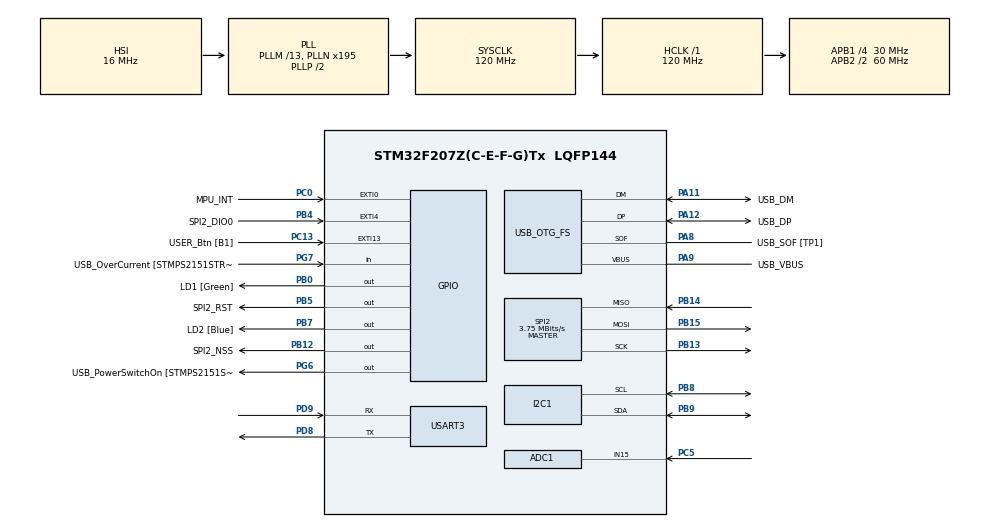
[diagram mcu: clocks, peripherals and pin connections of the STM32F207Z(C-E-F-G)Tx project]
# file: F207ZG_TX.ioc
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ADC1.Channel-0\#ChannelRegularConversion=ADC_CHANNEL_15
ADC1.NbrOfConversionFlag=1
ADC1.Rank-0\#ChannelRegularConversion=1
ADC1.SamplingTime-0\#ChannelRegularConversion=ADC_SAMPLETIME_3CYCLES
ADC1.master=1
FREERTOS.Tasks01=defaultTask,24,128,StartDefaultTask,Default,NULL,Dynamic,NULL,NULL
Mcu.Family=STM32F2
Mcu.Name=STM32F207Z(C-E-F-G)Tx
Mcu.Package=LQFP144
NVIC.EXTI0_IRQn=true\:5\:0\:false\:false\:true\:true\:true\:true\:true
NVIC.PriorityGroup=NVIC_PRIORITYGROUP_4
NVIC.TIM7_IRQn=true\:15\:0\:false\:false\:true\:false\:false\:true\:true
NVIC.TimeBase=TIM7_IRQn
NVIC.TimeBaseIP=TIM7
PA1.GPIO_Label=RMII_REF_CLK [LAN8742A-CZ-TR_REFCLK0]
PA1.Signal=ETH_REF_CLK
PA10.GPIO_Label=USB_ID
PA10.Signal=USB_OTG_FS_ID
PA11.GPIO_Label=USB_DM
PA11.Mode=Device_Only
PA11.Signal=USB_OTG_FS_DM
PA12.GPIO_Label=USB_DP
PA12.Mode=Device_Only
PA12.Signal=USB_OTG_FS_DP
PA13.GPIO_Label=TMS
PA13.Mode=Serial_Wire
PA13.Signal=SYS_JTMS-SWDIO
PA14.GPIO_Label=TCK
PA14.Mode=Serial_Wire
PA14.Signal=SYS_JTCK-SWCLK
PA2.GPIO_Label=RMII_MDIO [LAN8742A-CZ-TR_MDIO]
PA2.Signal=ETH_MDIO
PA8.GPIO_Label=USB_SOF [TP1]
PA8.Mode=Activate_SOF_FS
PA8.Signal=USB_OTG_FS_SOF
PA9.GPIO_Label=USB_VBUS
PA9.Mode=Activate_VBUS
PA9.Signal=USB_OTG_FS_VBUS
PB0.GPIO_Label=LD1 [Green]
PB0.Signal=GPIO_Output
PB12.GPIO_Label=SPI2_NSS
PB12.Signal=GPIO_Output
PB13.Mode=Full_Duplex_Master
PB13.Signal=SPI2_SCK
PB14.Mode=Full_Duplex_Master
PB14.Signal=SPI2_MISO
PB15.Mode=Full_Duplex_Master
PB15.Signal=SPI2_MOSI
PB3.GPIO_Label=SWO
PB3.Signal=SYS_JTDO-SWO
PB4.GPIO_Label=SPI2_DIO0
PB4.Signal=GPXTI4
PB5.GPIO_Label=SPI2_RST
PB5.Signal=GPIO_Output
PB7.GPIO_Label=LD2 [Blue]
PB7.Signal=GPIO_Output
PB8.Mode=I2C
PB8.Signal=I2C1_SCL
PB9.Mode=I2C
PB9.Signal=I2C1_SDA
PC0.GPIO_Label=MPU_INT
PC0.Signal=GPXTI0
PC1.GPIO_Label=RMII_MDC [LAN8742A-CZ-TR_MDC]
PC1.Signal=ETH_MDC
PC13.GPIO_Label=USER_Btn [B1]
PC13.Signal=GPXTI13
PC14-OSC32_IN.Mode=LSE-External-Oscillator
PC14-OSC32_IN.Signal=RCC_OSC32_IN
PC15-OSC32_OUT.Mode=LSE-External-Oscillator
PC15-OSC32_OUT.Signal=RCC_OSC32_OUT
PC4.GPIO_Label=RMII_RXD0 [LAN8742A-CZ-TR_RXD0]
PC4.Signal=ETH_RXD0
PC5.Signal=ADCx_IN15
PD8.Mode=Asynchronous
PD8.Signal=USART3_TX
PD9.Mode=Asynchronous
PD9.Signal=USART3_RX
PG11.GPIO_Label=RMII_TX_EN [LAN8742A-CZ-TR_TXEN]
PG11.Signal=ETH_TX_EN
PG13.GPIO_Label=RMII_TXD0 [LAN8742A-CZ-TR_TXD0]
PG13.Signal=ETH_TXD0
PG6.GPIO_Label=USB_PowerSwitchOn [STMPS2151STR_EN]
PG6.Signal=GPIO_Output
PG7.GPIO_Label=USB_OverCurrent [STMPS2151STR_FAULT]
PG7.Signal=GPIO_Input
PH0-OSC_IN.GPIO_Label=MCO [STM32F103CBT6_PA8]
PH0-OSC_IN.Mode=HSE-External-Clock-Source
PH0-OSC_IN.Signal=RCC_OSC_IN
PH1-OSC_OUT.Mode=HSE-External-Clock-Source
PH1-OSC_OUT.Signal=RCC_OSC_OUT
ProjectManager.HeapSize=0x200
ProjectManager.StackSize=0x400
ProjectManager.TargetToolchain=STM32CubeIDE
RCC.48MHZClocksFreq_Value=48000000
RCC.AHBFreq_Value=120000000
RCC.APB1CLKDivider=RCC_HCLK_DIV4
RCC.APB1Freq_Value=30000000
RCC.APB1TimFreq_Value=60000000
RCC.APB2CLKDivider=RCC_HCLK_DIV2
RCC.APB2Freq_Value=60000000
RCC.APB2TimFreq_Value=120000000
RCC.CortexFreq_Value=120000000
RCC.HCLKFreq_Value=120000000
RCC.HSE_VALUE=8000000
RCC.HSI_VALUE=16000000
RCC.PLLM=13
RCC.PLLMUL=RCC_PLL_MUL9
RCC.PLLN=195
RCC.PLLQ=5
RCC.PRESCALERUSB=RCC_USBCLKSOURCE_PLL_DIV1_5
RCC.SYSCLKFreq_VALUE=120000000
RCC.SYSCLKSource=RCC_SYSCLKSOURCE_PLLCLK
RCC.SYSCLKSourceVirtual=RCC_SYSCLKSOURCE_PLLCLK
RCC.USBFreq_Value=48000000
RCC.VCOOutputFreq_Value=240000000
SH.ADCx_IN15.0=ADC1_IN15,IN15
SPI2.BaudRatePrescaler=SPI_BAUDRATEPRESCALER_8
SPI2.CRCCalculation=SPI_CRCCALCULATION_DISABLE
SPI2.CalculateBaudRate=3.75 MBits/s
SPI2.Direction=SPI_DIRECTION_2LINES
SPI2.Mode=SPI_MODE_MASTER
SPI2.VirtualType=VM_MASTER
USART3.VirtualMode=VM_ASYNC
USB_OTG_FS.VirtualMode=Device_Only
VP_FREERTOS_VS_CMSIS_V2.Mode=CMSIS_V2
VP_SYS_VS_tim7.Mode=TIM7
board=NUCLEO-F207ZG

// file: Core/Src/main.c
/* USER CODE BEGIN Header */
/**
 ******************************************************************************
 * @file           : main.c
 * @brief          : StructEye Node 4 — STM32F207ZG FreeRTOS LoRa Transmitter
 *
 *                   Architecture:
 *                     Task 1 — Sensor Acquisition   (EXTI + periodic poll)
 *                     Task 2 — Threshold Detection  (vibration/tilt analysis)
 *                     Task 3 — LoRa Communication   (CAD + TX)
 *                     Task 4 — System Monitor        (health telemetry)
 *
 *                   Inter-task communication via FreeRTOS Queues.
 *                   Motion interrupt (MPU6050 INT on PC0/EXTI0) wakes
 *                   Task 1 via vTaskNotifyGiveFromISR for sub-5ms latency.
 ******************************************************************************
 */
/* USER CODE END Header */
#include "main.h"

/* USER CODE BEGIN Includes */
#include "FreeRTOS.h"
#include "task.h"
#include "queue.h"
#include "semphr.h"

#include "lora.h"
#include "mpu6050.h"
#include <math.h>
#include <stdio.h>
#include <string.h>

/* USER CODE END Includes */

/* USER CODE BEGIN PTD */

/* --- Data structure passed from Task 1 → Task 2 via xSensorQueue --- */
typedef struct {
  float accelX;  /* m/s² */
  float accelY;
  float accelZ;
  float gyroX;   /* deg/s */
  float gyroY;
  float gyroZ;
  uint8_t sensor_ok; /* 1 = valid read, 0 = I2C error / all-zeros */
} SensorData_t;

/* --- 23-byte TX frame passed from Task 2 → Task 3 via xTxQueue --- */
typedef struct {
  uint8_t frame[23];
} TxPacket_t;

/* USER CODE END PTD */

/* USER CODE BEGIN PD */
#define NODE_ID               0x04   /* Node 4 = F207ZG */

/* Heartbeat & Alert timing (in RTOS ticks, 1 tick = 1ms) */
#define HEARTBEAT_PERIOD_MS   30000  /* 30 seconds normal heartbeat */
#define ALERT_PERIOD_MS       100    /* 100ms rapid-fire during alert */
#define SENSOR_POLL_MS        50     /* 50ms sensor polling interval */

/* Threshold values (Dynamic shaking above calibrated rest baseline) */
#define VIB_WARN_HIGH         1.2f   /* m/s² — dynamic shake warning */
#define VIB_CRIT_HIGH         3.0f   /* m/s² — severe dynamic shaking */
#define TILT_WARN_DEG         10.0f  /* degrees */
#define TILT_CRIT_DEG         15.0f  /* degrees */

/* CAD retry configuration */
#define CAD_MAX_RETRIES       15
#define CAD_BACKOFF_MIN_MS    20
#define CAD_BACKOFF_MAX_MS    80

/* Queue sizes */
#define SENSOR_QUEUE_SIZE     10
#define TX_QUEUE_SIZE         5

/* USER CODE END PD */

ADC_HandleTypeDef hadc1;

I2C_HandleTypeDef hi2c1;

SPI_HandleTypeDef hspi2;

/* htim7 is defined in stm32f2xx_hal_timebase_tim.c as the HAL timebase */
extern TIM_HandleTypeDef htim7;

UART_HandleTypeDef huart3;

PCD_HandleTypeDef hpcd_USB_OTG_FS;

/* USER CODE BEGIN PV */

/* --- FreeRTOS Handles --- */
TaskHandle_t xSensorTaskHandle  = NULL;
TaskHandle_t xProcessTaskHandle = NULL;
TaskHandle_t xLoRaTaskHandle    = NULL;
TaskHandle_t xMonitorTaskHandle = NULL;

QueueHandle_t xSensorQueue = NULL;   /* SensorData_t: Task1 → Task2 */
QueueHandle_t xTxQueue     = NULL;   /* TxPacket_t:   Task2 → Task3 */

/* --- Shared state --- */
MPU6050_t MPU6050;
volatile uint8_t mpu_motion_detected = 0;  /* Set by EXTI callback */

/* --- PRNG for CAD backoff --- */
static uint32_t rng_state = 0x12345678;

/* USER CODE END PV */

void SystemClock_Config(void);
static void MX_GPIO_Init(void);
static void MX_USART3_UART_Init(void);
static void MX_USB_OTG_FS_PCD_Init(void);
static void MX_I2C1_Init(void);
static void MX_ADC1_Init(void);
static void MX_SPI2_Init(void);
/* USER CODE BEGIN PFP */
void User_Periph_Init(void);
uint16_t crc16(const uint8_t *data, uint16_t len);

/* FreeRTOS Task Functions */
void vSensorAcquisitionTask(void *pvParameters);
void vThresholdDetectionTask(void *pvParameters);
void vLoRaCommunicationTask(void *pvParameters);
void vSystemMonitorTask(void *pvParameters);

/* USER CODE END PFP */

/* USER CODE BEGIN 0 */

/* -----------------------------------------------------------------------
 * CRC-16/CCITT — used for packet integrity
 * ----------------------------------------------------------------------- */
uint16_t crc16(const uint8_t *data, uint16_t len) {
  uint16_t crc = 0xFFFF;
  for (uint16_t i = 0; i < len; i++) {
    crc ^= (uint16_t)data[i] << 8;
    for (uint8_t j = 0; j < 8; j++) {
      if (crc & 0x8000)
        crc = (crc << 1) ^ 0x1021;
      else
        crc <<= 1;
    }
  }
  return crc;
}

/* -----------------------------------------------------------------------
 * Simple LCG PRNG for randomized CAD backoff
 * ----------------------------------------------------------------------- */
static uint32_t get_random_ms(uint32_t min_ms, uint32_t max_ms) {
  rng_state = rng_state * 1664525U + 1013904223U;
  return min_ms + (rng_state % (max_ms - min_ms + 1));
}

/* -----------------------------------------------------------------------
 * EXTI Callback — called by HAL when MPU6050 motion interrupt fires
 *
 * This is the critical low-latency path:
 *   MPU6050 INT pin → EXTI0 ISR → HAL_GPIO_EXTI_Callback →
 *   vTaskNotifyGiveFromISR → portYIELD_FROM_ISR → Task 1 wakes instantly
 * ----------------------------------------------------------------------- */
void HAL_GPIO_EXTI_Callback(uint16_t GPIO_Pin) {
  if (GPIO_Pin == MPU_INT_Pin) {
    BaseType_t xHigherPriorityTaskWoken = pdFALSE;

    /* Notify the Sensor Acquisition Task that motion was detected */
    if (xSensorTaskHandle != NULL) {
      vTaskNotifyGiveFromISR(xSensorTaskHandle, &xHigherPriorityTaskWoken);
    }

    /* Force an immediate context switch if the sensor task has
     * higher priority than whatever was running when the ISR fired */
    portYIELD_FROM_ISR(xHigherPriorityTaskWoken);
  }
}

/* ========================================================================
 * TASK 1: SENSOR ACQUISITION
 * ========================================================================
 * - Blocks waiting for EXTI notification (motion interrupt) OR
 *   times out after SENSOR_POLL_MS (50ms) for periodic heartbeat readings.
 * - Reads MPU6050 via I2C burst read (14 bytes, ~1.4ms at 100kHz).
 * - Clears MPU6050 interrupt status register (0x3A).
 * - Scales raw values to engineering units (m/s², deg/s).
 * - Pushes SensorData_t to xSensorQueue for Task 2.
 * ======================================================================== */
void vSensorAcquisitionTask(void *pvParameters) {
  (void)pvParameters;

  SensorData_t sensorData;

  for (;;) {
    /* Block until notified by EXTI ISR or timeout after SENSOR_POLL_MS.
     * ulTaskNotifyTake returns the notification count:
     *   > 0 means interrupt woke us (motion detected)
     *   = 0 means we timed out (periodic poll for heartbeat data) */
    uint32_t notification = ulTaskNotifyTake(pdTRUE,
                                             pdMS_TO_TICKS(SENSOR_POLL_MS));

    if (notification > 0) {
      /* Motion interrupt fired — log it */
      const char *intMsg = ">>> HARDWARE INTERRUPT: Motion Detected! <<<\r\n";
      HAL_UART_Transmit(&huart3, (uint8_t *)intMsg, strlen(intMsg), 50);
    }

    /* Read all 6 axes from MPU6050 in a single I2C burst */
    MPU6050_Read_All(&hi2c1, &MPU6050);

    /* Scale raw values to engineering units:
     *   Accel: ±2g range, sensitivity = 16384 LSB/g, convert to m/s²
     *   Gyro:  ±250°/s range, sensitivity = 131 LSB/°/s             */
    sensorData.accelX = (MPU6050.Accel_X / 16384.0f) * 9.81f;
    sensorData.accelY = (MPU6050.Accel_Y / 16384.0f) * 9.81f;
    sensorData.accelZ = (MPU6050.Accel_Z / 16384.0f) * 9.81f;
    sensorData.gyroX  = MPU6050.Gyro_X / 131.0f;
    sensorData.gyroY  = MPU6050.Gyro_Y / 131.0f;
    sensorData.gyroZ  = MPU6050.Gyro_Z / 131.0f;

    /* Detect sensor fault (all zeros = I2C failure or sensor disconnected) */
    sensorData.sensor_ok = !(MPU6050.Accel_X == 0 &&
                             MPU6050.Accel_Y == 0 &&
                             MPU6050.Accel_Z == 0);

    /* Clear MPU6050 interrupt status register to allow next interrupt */
    uint8_t int_status;
    HAL_I2C_Mem_Read(&hi2c1, 0x68 << 1, 0x3A, 1, &int_status, 1, 100);

    /* Push to processing queue — non-blocking, drop oldest if full */
    if (xQueueSend(xSensorQueue, &sensorData, 0) != pdPASS) {
      /* Queue full — receive and discard the oldest, then re-send */
      SensorData_t discard;
      xQueueReceive(xSensorQueue, &discard, 0);
      xQueueSend(xSensorQueue, &sensorData, 0);
    }
  }
}

/* ========================================================================
 * TASK 2: PROCESSING & THRESHOLD DETECTION
 * ========================================================================
 * - Blocks waiting on xSensorQueue (zero CPU usage while idle).
 * - Computes RMS vibration magnitude and tilt angle.
 * - Runs alert state machine:
 *     Normal mode → sends 1 packet per HEARTBEAT_PERIOD_MS (30s)
 *     Alert mode  → sends 1 packet per ALERT_PERIOD_MS (100ms)
 * - Constructs the 23-byte StructEye frame with CRC-16.
 * - Pushes TxPacket_t to xTxQueue for Task 3.
 * ======================================================================== */
void vThresholdDetectionTask(void *pvParameters) {
  (void)pvParameters;

  SensorData_t rxData;
  TxPacket_t   txPacket;
  uint8_t      seq_num = 0;
  TickType_t   lastTxTick = 0;
  uint8_t      alert_active = 0; /* 0 = normal, 1 = alert mode */
  char uartMsg[128];

  float base_gravity = 9.81f;
  uint16_t cal_samples = 0;
  float cal_sum = 0.0f;
  uint8_t cooldown_counter = 0;

  for (;;) {
    /* Block indefinitely waiting for sensor data from Task 1 */
    if (xQueueReceive(xSensorQueue, &rxData, portMAX_DELAY) != pdPASS) {
      continue;
    }

    /* Compute raw acceleration magnitude */
    float accel_mag = sqrtf(rxData.accelX * rxData.accelX +
                            rxData.accelY * rxData.accelY +
                            rxData.accelZ * rxData.accelZ);

    /* Self-calibration over first 50 samples at startup */
    if (cal_samples < 50) {
      cal_sum += accel_mag;
      cal_samples++;
      if (cal_samples == 50) {
        base_gravity = cal_sum / 50.0f;
        snprintf(uartMsg, sizeof(uartMsg), "[CAL] Auto-calibration done. Base Gravity = %.3f m/s2\r\n", base_gravity);
        HAL_UART_Transmit(&huart3, (uint8_t *)uartMsg, strlen(uartMsg), 100);
      }
      /* Skip processing until calibrated */
      continue;
    }

    /* Compute true dynamic vibration (shaking above baseline gravity) */
    float vibration = fabsf(accel_mag - base_gravity);

    float maxAxis = fabsf(rxData.accelX);
    if (fabsf(rxData.accelY) > maxAxis) maxAxis = fabsf(rxData.accelY);
    if (fabsf(rxData.accelZ) > maxAxis) maxAxis = fabsf(rxData.accelZ);

    float tilt = 0.0f;
    if (accel_mag > 0.1f) {
      tilt = acosf(maxAxis / accel_mag) * 180.0f / 3.14159265f;
    }

    /* --- Status flags & alert level --- */
    uint8_t status_flags = 0;
    uint8_t alert_level  = 0;

    /* Vibration thresholds */
    if (vibration > VIB_CRIT_HIGH)
      status_flags |= (1 << 0);  /* CRITICAL vibration */
    else if (vibration > VIB_WARN_HIGH)
      alert_level = 1;           /* WARN vibration */

    /* Tilt thresholds */
    if (fabsf(tilt) > TILT_CRIT_DEG)
      status_flags |= (1 << 1);  /* CRITICAL tilt */
    else if (fabsf(tilt) > TILT_WARN_DEG)
      alert_level = 1;           /* WARN tilt */

    /* Sensor fault flag */
    if (!rxData.sensor_ok)
      status_flags |= (1 << 2);

    /* Boot flag — first packet after reset */
    if (seq_num == 0)
      status_flags |= (1 << 3);

    /* CRITICAL overrides WARN */
    if ((status_flags & 0x03) != 0)
      alert_level = 2;

    /* --- Update alert state machine --- */
    uint8_t was_alert = alert_active;
    alert_active = (alert_level >= 1) ? 1 : 0;

    /* If alert state changes, start a 3-packet fast cooldown burst */
    uint8_t transition = (alert_active != was_alert) ? 1 : 0;
    if (transition) {
      cooldown_counter = 3;
    }

    TickType_t now = xTaskGetTickCount();
    TickType_t tx_interval;

    if (alert_active) {
      tx_interval = pdMS_TO_TICKS(ALERT_PERIOD_MS); // 100ms
    } else if (cooldown_counter > 0) {
      tx_interval = pdMS_TO_TICKS(2000);            // 2 seconds redundant spacing
    } else {
      tx_interval = pdMS_TO_TICKS(HEARTBEAT_PERIOD_MS); // 30 seconds
    }

    uint8_t force_tx = (transition || seq_num == 0) ? 1 : 0;

    if (!force_tx && (now - lastTxTick) < tx_interval) {
      /* Not time to transmit yet — skip */
      continue;
    }

    /* Redundant transmission cooldown tracker */
    if (cooldown_counter > 0 && !transition) {
      cooldown_counter--;
    }

    /* --- Construct 23-byte StructEye frame --- */
    txPacket.frame[0] = 0xAA;         /* Start byte */
    txPacket.frame[1] = NODE_ID;      /* Node ID */
    txPacket.frame[2] = seq_num++;    /* Sequence number */

    int16_t ax_s   = (int16_t)(rxData.accelX * 100);
    int16_t ay_s   = (int16_t)(rxData.accelY * 100);
    int16_t az_s   = (int16_t)(rxData.accelZ * 100);
    int16_t gx_s   = (int16_t)(rxData.gyroX  * 100);
    int16_t gy_s   = (int16_t)(rxData.gyroY  * 100);
    int16_t gz_s   = (int16_t)(rxData.gyroZ  * 100);
    uint16_t vib_s = (uint16_t)(vibration     * 100);
    int16_t tilt_s = (int16_t)(tilt           * 100);

    txPacket.frame[3]  = (ax_s >> 8) & 0xFF;
    txPacket.frame[4]  = ax_s & 0xFF;
    txPacket.frame[5]  = (ay_s >> 8) & 0xFF;
    txPacket.frame[6]  = ay_s & 0xFF;
    txPacket.frame[7]  = (az_s >> 8) & 0xFF;
    txPacket.frame[8]  = az_s & 0xFF;
    txPacket.frame[9]  = (gx_s >> 8) & 0xFF;
    txPacket.frame[10] = gx_s & 0xFF;
    txPacket.frame[11] = (gy_s >> 8) & 0xFF;
    txPacket.frame[12] = gy_s & 0xFF;
    txPacket.frame[13] = (gz_s >> 8) & 0xFF;
    txPacket.frame[14] = gz_s & 0xFF;
    txPacket.frame[15] = (vib_s >> 8) & 0xFF;
    txPacket.frame[16] = vib_s & 0xFF;
    txPacket.frame[17] = (tilt_s >> 8) & 0xFF;
    txPacket.frame[18] = tilt_s & 0xFF;

    txPacket.frame[19] = status_flags;
    txPacket.frame[20] = alert_level;

    /* CRC-16 over bytes 0–20 */
    uint16_t crc = crc16(txPacket.frame, 21);
    txPacket.frame[21] = (crc >> 8) & 0xFF;
    txPacket.frame[22] = crc & 0xFF;

    /* Push to LoRa TX queue — block up to 100ms if full */
    if (xQueueSend(xTxQueue, &txPacket, pdMS_TO_TICKS(100)) == pdPASS) {
      lastTxTick = now;

      /* Debug print */
      snprintf(uartMsg, sizeof(uartMsg),
               "[PROC] Seq=%u Vib=%.2f Tilt=%.2f Alert=%u\r\n",
               (unsigned)(seq_num - 1), vibration, tilt, alert_level);
      HAL_UART_Transmit(&huart3, (uint8_t *)uartMsg, strlen(uartMsg), 50);
    }
  }
}

/* ========================================================================
 * TASK 3: LoRa COMMUNICATION (CAD + TRANSMIT)
 * ========================================================================
 * - Blocks waiting on xTxQueue (zero CPU usage while idle).
 * - Performs CAD Listen-Before-Talk:
 *     1. Check channel with SX1278_PerformCAD()
 *     2. If busy → randomized backoff (20-80ms) using vTaskDelay
 *     3. Retry up to CAD_MAX_RETRIES times
 *     4. If still busy → force-transmit (better late than lost)
 * - Transmits the 23-byte frame via SPI burst.
 * - CAD backoffs use vTaskDelay (non-blocking to other tasks).
 * ======================================================================== */
void vLoRaCommunicationTask(void *pvParameters) {
  (void)pvParameters;

  TxPacket_t rxPacket;
  char uartMsg[80];

  for (;;) {
    /* Block indefinitely waiting for a packet from Task 2 */
    if (xQueueReceive(xTxQueue, &rxPacket, portMAX_DELAY) != pdPASS) {
      continue;
    }

    /* --- CAD Listen-Before-Talk --- */
    uint8_t tx_success = 0;
    for (int retries = 0; retries < CAD_MAX_RETRIES; retries++) {
      if (SX1278_PerformCAD()) {
        /* Channel busy — back off with randomized delay.
         * vTaskDelay yields the CPU to other tasks during the wait,
         * so sensor acquisition continues uninterrupted. */
        uint32_t backoff = get_random_ms(CAD_BACKOFF_MIN_MS, CAD_BACKOFF_MAX_MS);

        snprintf(uartMsg, sizeof(uartMsg),
                 "[CAD] Channel busy — backing off %lums (retry %d/%d)\r\n",
                 backoff, retries + 1, CAD_MAX_RETRIES);
        HAL_UART_Transmit(&huart3, (uint8_t *)uartMsg, strlen(uartMsg), 50);

        vTaskDelay(pdMS_TO_TICKS(backoff));
      } else {
        /* Channel free — transmit immediately */
        HAL_UART_Transmit(&huart3, (uint8_t *)"[TX] Channel free — transmitting\r\n", 34, 50);
        SX1278_Transmit(rxPacket.frame, 23);
        HAL_GPIO_TogglePin(GPIOB, GPIO_PIN_0); /* Toggle LD1 green LED */
        HAL_UART_Transmit(&huart3, (uint8_t *)"[TX] Done\r\n", 11, 50);
        tx_success = 1;
        break;
      }
    }

    if (!tx_success) {
      /* Fallback: force transmit after all CAD retries exhausted.
       * It's better to risk a collision than to silently drop an alert. */
      HAL_UART_Transmit(&huart3, (uint8_t *)"[TX] FORCE — CAD retries exhausted\r\n", 35, 50);
      SX1278_Transmit(rxPacket.frame, 23);
      HAL_GPIO_TogglePin(GPIOB, GPIO_PIN_0);
      HAL_UART_Transmit(&huart3, (uint8_t *)"[TX] Done (forced)\r\n", 20, 50);
    }
  }
}

/* ========================================================================
 * TASK 4: SYSTEM MONITOR
 * ========================================================================
 * - Runs every 5 seconds at the lowest priority.
 * - Reports stack high-water marks for all tasks (minimum free stack words
 *   remaining since task creation — early warning for stack overflows).
 * - Reports free heap memory.
 * - Toggles LD2 (blue LED) as a system heartbeat indicator.
 * ======================================================================== */
void vSystemMonitorTask(void *pvParameters) {
  (void)pvParameters;

  char uartMsg[256];

  for (;;) {
    vTaskDelay(pdMS_TO_TICKS(5000)); /* Run every 5 seconds */

    /* Get stack high-water marks (minimum free stack words remaining) */
    UBaseType_t sensorHW  = uxTaskGetStackHighWaterMark(xSensorTaskHandle);
    UBaseType_t processHW = uxTaskGetStackHighWaterMark(xProcessTaskHandle);
    UBaseType_t loraHW    = uxTaskGetStackHighWaterMark(xLoRaTaskHandle);
    UBaseType_t monitorHW = uxTaskGetStackHighWaterMark(xMonitorTaskHandle);

    /* Get free heap */
    size_t freeHeap = xPortGetFreeHeapSize();

    /* Report */
    snprintf(uartMsg, sizeof(uartMsg),
             "\r\n--- SYSTEM MONITOR ---\r\n"
             "Free Heap: %u bytes\r\n"
             "Stack High Water Marks (min free words):\r\n"
             "  Sensor Task:  %u\r\n"
             "  Process Task: %u\r\n"
             "  LoRa Task:    %u\r\n"
             "  Monitor Task: %u\r\n"
             "Sensor Queue: %u/%d | TX Queue: %u/%d\r\n"
             "----------------------\r\n",
             (unsigned)freeHeap,
             (unsigned)sensorHW,
             (unsigned)processHW,
             (unsigned)loraHW,
             (unsigned)monitorHW,
             (unsigned)uxQueueMessagesWaiting(xSensorQueue), SENSOR_QUEUE_SIZE,
             (unsigned)uxQueueMessagesWaiting(xTxQueue), TX_QUEUE_SIZE);
    HAL_UART_Transmit(&huart3, (uint8_t *)uartMsg, strlen(uartMsg), 200);

    /* Toggle blue LED as system heartbeat */
    HAL_GPIO_TogglePin(GPIOB, LD2_Pin);
  }
}

/* USER CODE END 0 */

int main(void) {

  /* MCU Configuration--------------------------------------------------------*/

  /* Reset of all peripherals, Initializes the Flash interface and the Systick.
   */
  HAL_Init();

  /* Configure the system clock */
  SystemClock_Config();

  /* Initialize all configured peripherals */
  MX_GPIO_Init();
  MX_USART3_UART_Init();

  /* Debug: confirm UART is alive */
  HAL_UART_Transmit(&huart3, (uint8_t *)"UART OK\r\n", 9, 100);

  MX_USB_OTG_FS_PCD_Init();
  HAL_UART_Transmit(&huart3, (uint8_t *)"USB OK\r\n", 8, 100);

  MX_I2C1_Init();
  HAL_UART_Transmit(&huart3, (uint8_t *)"I2C1 OK\r\n", 9, 100);

  MX_ADC1_Init();
  HAL_UART_Transmit(&huart3, (uint8_t *)"ADC1 OK\r\n", 9, 100);

  MX_SPI2_Init();
  HAL_UART_Transmit(&huart3, (uint8_t *)"SPI2 OK\r\n", 9, 100);

  /* USER CODE BEGIN 2 */
  /* Manually initialize I2C1 and LoRa GPIO (since they aren't generated by
   * CubeMX yet) */
  User_Periph_Init();
  HAL_UART_Transmit(&huart3, (uint8_t *)"Periph OK\r\n", 11, 100);

  /* Seed PRNG from system tick for randomized CAD backoff */
  rng_state = HAL_GetTick() ^ 0xDEADBEEF;

  /* Debug: read version register raw before full init */
  {
    char dbg[64];
    uint8_t ver = SX1278_ReadRegister(0x42);
    snprintf(dbg, sizeof(dbg), "DEBUG: REG_VERSION raw = 0x%02X\r\n", ver);
    HAL_UART_Transmit(&huart3, (uint8_t *)dbg, strlen(dbg), 100);
  }

  /* Initialize LoRa */
  if (SX1278_Init() == 1) {
    char *msg = "LoRa initialized OK (VERSION=0x12)\r\n";
    HAL_UART_Transmit(&huart3, (uint8_t *)msg, strlen(msg), 100);
  } else {
    char *msg = "LoRa FAILED — SPI not reaching SX1278. Check wiring.\r\n";
    HAL_UART_Transmit(&huart3, (uint8_t *)msg, strlen(msg), 100);
    while (1) {
      HAL_GPIO_TogglePin(GPIOB, LD2_Pin);
      HAL_Delay(200);
    }
  }

  /* Initialize MPU6050 */
  if (MPU6050_Init(&hi2c1) == 1) {
    char *msg2 = "MPU6050 initialized OK\r\n";
    HAL_UART_Transmit(&huart3, (uint8_t *)msg2, strlen(msg2), 100);

    /* Configure MPU6050 for Motion Detection (Hardware Interrupt) */
    uint8_t data;
    /* 1. Set HPF to 5Hz (ACCEL_CONFIG 0x1C) */
    data = 0x01;
    HAL_I2C_Mem_Write(&hi2c1, 0x68 << 1, 0x1C, 1, &data, 1, 100);
    /* 2. Configure INT pin (INT_PIN_CFG 0x37) Latch enable, clear on read */
    data = 0x20;
    HAL_I2C_Mem_Write(&hi2c1, 0x68 << 1, 0x37, 1, &data, 1, 100);
    /* 3. Enable Motion Interrupt (INT_ENABLE 0x38) */
    data = 0x40;
    HAL_I2C_Mem_Write(&hi2c1, 0x68 << 1, 0x38, 1, &data, 1, 100);
    /* 4. Set Threshold (MOT_THR 0x1F) 1 LSB = 2mg. 30 = 60mg. */
    data = 30;
    HAL_I2C_Mem_Write(&hi2c1, 0x68 << 1, 0x1F, 1, &data, 1, 100);
    /* 5. Set Duration (MOT_DUR 0x20) 1 LSB = 1ms. 2ms. */
    data = 2;
    HAL_I2C_Mem_Write(&hi2c1, 0x68 << 1, 0x20, 1, &data, 1, 100);

    /* Clear any initial interrupt */
    HAL_I2C_Mem_Read(&hi2c1, 0x68 << 1, 0x3A, 1, &data, 1, 100);

  } else {
    char *msg2 = "MPU6050 failed to initialize\r\n";
    HAL_UART_Transmit(&huart3, (uint8_t *)msg2, strlen(msg2), 100);
  }

  /* Enable EXTI0 interrupt for MPU6050 motion detection */
  HAL_NVIC_SetPriority(EXTI0_IRQn, 5, 0);
  HAL_NVIC_EnableIRQ(EXTI0_IRQn);

  /* -----------------------------------------------------------------------
   * CREATE FreeRTOS QUEUES
   * ----------------------------------------------------------------------- */
  xSensorQueue = xQueueCreate(SENSOR_QUEUE_SIZE, sizeof(SensorData_t));
  xTxQueue     = xQueueCreate(TX_QUEUE_SIZE,     sizeof(TxPacket_t));

  if (xSensorQueue == NULL || xTxQueue == NULL) {
    HAL_UART_Transmit(&huart3,
      (uint8_t *)"FATAL: Queue creation failed!\r\n", 30, 100);
    Error_Handler();
  }

  /* -----------------------------------------------------------------------
   * CREATE FreeRTOS TASKS
   *
   * Priority hierarchy (higher number = higher priority):
   *   Task 3 LoRa Communication  = 4 (osPriorityAboveNormal)
   *   Task 1 Sensor Acquisition  = 3 (osPriorityNormal)
   *   Task 2 Threshold Detection = 3 (osPriorityNormal)
   *   Task 4 System Monitor      = 1 (osPriorityLow)
   * ----------------------------------------------------------------------- */
  BaseType_t ret;

  ret = xTaskCreate(vSensorAcquisitionTask, "SensorTask",
                    256, NULL, 3, &xSensorTaskHandle);
  if (ret != pdPASS) Error_Handler();

  ret = xTaskCreate(vThresholdDetectionTask, "ProcessTask",
                    256, NULL, 3, &xProcessTaskHandle);
  if (ret != pdPASS) Error_Handler();

  ret = xTaskCreate(vLoRaCommunicationTask, "LoRaTask",
                    512, NULL, 4, &xLoRaTaskHandle);
  if (ret != pdPASS) Error_Handler();

  ret = xTaskCreate(vSystemMonitorTask, "MonitorTask",
                    256, NULL, 1, &xMonitorTaskHandle);
  if (ret != pdPASS) Error_Handler();

  HAL_UART_Transmit(&huart3,
    (uint8_t *)"\r\n=== FreeRTOS Scheduler Starting ===\r\n\r\n", 41, 100);

  /* -----------------------------------------------------------------------
   * START THE SCHEDULER
   * This call never returns. All execution proceeds through tasks.
   * ----------------------------------------------------------------------- */
  vTaskStartScheduler();

  /* USER CODE END 2 */

  /* We should never get here as the scheduler takes over.
   * If we do, it means there was insufficient FreeRTOS heap. */
  /* Infinite loop */
  while (1) {

  }
}

void SystemClock_Config(void) {
  RCC_OscInitTypeDef RCC_OscInitStruct = {0};
  RCC_ClkInitTypeDef RCC_ClkInitStruct = {0};

  /** Initializes the RCC Oscillators according to the specified parameters
   * in the RCC_OscInitTypeDef structure.
   */
  RCC_OscInitStruct.OscillatorType = RCC_OSCILLATORTYPE_HSI;
  RCC_OscInitStruct.HSIState = RCC_HSI_ON;
  RCC_OscInitStruct.HSICalibrationValue = RCC_HSICALIBRATION_DEFAULT;
  RCC_OscInitStruct.PLL.PLLState = RCC_PLL_ON;
  RCC_OscInitStruct.PLL.PLLSource = RCC_PLLSOURCE_HSI;
  RCC_OscInitStruct.PLL.PLLM = 13;
  RCC_OscInitStruct.PLL.PLLN = 195;
  RCC_OscInitStruct.PLL.PLLP = RCC_PLLP_DIV2;
  RCC_OscInitStruct.PLL.PLLQ = 5;
  if (HAL_RCC_OscConfig(&RCC_OscInitStruct) != HAL_OK) {
    Error_Handler();
  }

  /** Initializes the CPU, AHB and APB buses clocks
   */
  RCC_ClkInitStruct.ClockType = RCC_CLOCKTYPE_HCLK | RCC_CLOCKTYPE_SYSCLK |
                                RCC_CLOCKTYPE_PCLK1 | RCC_CLOCKTYPE_PCLK2;
  RCC_ClkInitStruct.SYSCLKSource = RCC_SYSCLKSOURCE_PLLCLK;
  RCC_ClkInitStruct.AHBCLKDivider = RCC_SYSCLK_DIV1;
  RCC_ClkInitStruct.APB1CLKDivider = RCC_HCLK_DIV4;
  RCC_ClkInitStruct.APB2CLKDivider = RCC_HCLK_DIV2;

  if (HAL_RCC_ClockConfig(&RCC_ClkInitStruct, FLASH_LATENCY_3) != HAL_OK) {
    Error_Handler();
  }
}

static void MX_ADC1_Init(void) {

  ADC_ChannelConfTypeDef sConfig = {0};

  /** Configure the global features of the ADC (Clock, Resolution, Data
   * Alignment and number of conversion)
   */
  hadc1.Instance = ADC1;
  hadc1.Init.ClockPrescaler = ADC_CLOCK_SYNC_PCLK_DIV2;
  hadc1.Init.Resolution = ADC_RESOLUTION_12B;
  hadc1.Init.ScanConvMode = DISABLE;
  hadc1.Init.ContinuousConvMode = DISABLE;
  hadc1.Init.DiscontinuousConvMode = DISABLE;
  hadc1.Init.ExternalTrigConvEdge = ADC_EXTERNALTRIGCONVEDGE_NONE;
  hadc1.Init.ExternalTrigConv = ADC_SOFTWARE_START;
  hadc1.Init.DataAlign = ADC_DATAALIGN_RIGHT;
  hadc1.Init.NbrOfConversion = 1;
  hadc1.Init.DMAContinuousRequests = DISABLE;
  hadc1.Init.EOCSelection = ADC_EOC_SINGLE_CONV;
  if (HAL_ADC_Init(&hadc1) != HAL_OK) {
    Error_Handler();
  }

  /** Configure for the selected ADC regular channel its corresponding rank in
   * the sequencer and its sample time.
   */
  sConfig.Channel = ADC_CHANNEL_15;
  sConfig.Rank = 1;
  sConfig.SamplingTime = ADC_SAMPLETIME_3CYCLES;
  if (HAL_ADC_ConfigChannel(&hadc1, &sConfig) != HAL_OK) {
    Error_Handler();
  }
}

static void MX_I2C1_Init(void) {

  hi2c1.Instance = I2C1;
  hi2c1.Init.ClockSpeed = 100000;
  hi2c1.Init.DutyCycle = I2C_DUTYCYCLE_2;
  hi2c1.Init.OwnAddress1 = 0;
  hi2c1.Init.AddressingMode = I2C_ADDRESSINGMODE_7BIT;
  hi2c1.Init.DualAddressMode = I2C_DUALADDRESS_DISABLE;
  hi2c1.Init.OwnAddress2 = 0;
  hi2c1.Init.GeneralCallMode = I2C_GENERALCALL_DISABLE;
  hi2c1.Init.NoStretchMode = I2C_NOSTRETCH_DISABLE;
  if (HAL_I2C_Init(&hi2c1) != HAL_OK) {
    Error_Handler();
  }
}

static void MX_SPI2_Init(void) {

  /* SPI2 parameter configuration*/
  hspi2.Instance = SPI2;
  hspi2.Init.Mode = SPI_MODE_MASTER;
  hspi2.Init.Direction = SPI_DIRECTION_2LINES;
  hspi2.Init.DataSize = SPI_DATASIZE_8BIT;
  hspi2.Init.CLKPolarity = SPI_POLARITY_LOW;
  hspi2.Init.CLKPhase = SPI_PHASE_1EDGE;
  hspi2.Init.NSS = SPI_NSS_SOFT;
  hspi2.Init.BaudRatePrescaler = SPI_BAUDRATEPRESCALER_8;
  hspi2.Init.FirstBit = SPI_FIRSTBIT_MSB;
  hspi2.Init.TIMode = SPI_TIMODE_DISABLE;
  hspi2.Init.CRCCalculation = SPI_CRCCALCULATION_DISABLE;
  hspi2.Init.CRCPolynomial = 10;
  if (HAL_SPI_Init(&hspi2) != HAL_OK) {
    Error_Handler();
  }
}

static void MX_USART3_UART_Init(void) {

  huart3.Instance = USART3;
  huart3.Init.BaudRate = 115200;
  huart3.Init.WordLength = UART_WORDLENGTH_8B;
  huart3.Init.StopBits = UART_STOPBITS_1;
  huart3.Init.Parity = UART_PARITY_NONE;
  huart3.Init.Mode = UART_MODE_TX_RX;
  huart3.Init.HwFlowCtl = UART_HWCONTROL_NONE;
  huart3.Init.OverSampling = UART_OVERSAMPLING_16;
  if (HAL_UART_Init(&huart3) != HAL_OK) {
    Error_Handler();
  }
}

static void MX_USB_OTG_FS_PCD_Init(void) {

  hpcd_USB_OTG_FS.Instance = USB_OTG_FS;
  hpcd_USB_OTG_FS.Init.dev_endpoints = 4;
  hpcd_USB_OTG_FS.Init.speed = PCD_SPEED_FULL;
  hpcd_USB_OTG_FS.Init.dma_enable = DISABLE;
  hpcd_USB_OTG_FS.Init.phy_itface = PCD_PHY_EMBEDDED;
  hpcd_USB_OTG_FS.Init.Sof_enable = ENABLE;
  hpcd_USB_OTG_FS.Init.low_power_enable = DISABLE;
  hpcd_USB_OTG_FS.Init.vbus_sensing_enable = ENABLE;
  hpcd_USB_OTG_FS.Init.use_dedicated_ep1 = DISABLE;
  if (HAL_PCD_Init(&hpcd_USB_OTG_FS) != HAL_OK) {
    Error_Handler();
  }
}

static void MX_GPIO_Init(void) {
  GPIO_InitTypeDef GPIO_InitStruct = {0};

  /* GPIO Ports Clock Enable */
  __HAL_RCC_GPIOC_CLK_ENABLE();
  __HAL_RCC_GPIOH_CLK_ENABLE();
  __HAL_RCC_GPIOA_CLK_ENABLE();
  __HAL_RCC_GPIOB_CLK_ENABLE();
  __HAL_RCC_GPIOD_CLK_ENABLE();
  __HAL_RCC_GPIOG_CLK_ENABLE();

  /*Configure GPIO pin Output Level */
  HAL_GPIO_WritePin(GPIOB, LD1_Pin | SPI2_NSS_Pin | SPI2_RST_Pin | LD2_Pin,
                    GPIO_PIN_RESET);

  /*Configure GPIO pin Output Level */
  HAL_GPIO_WritePin(USB_PowerSwitchOn_GPIO_Port, USB_PowerSwitchOn_Pin,
                    GPIO_PIN_RESET);

  /*Configure GPIO pin : USER_Btn_Pin */
  GPIO_InitStruct.Pin = USER_Btn_Pin;
  GPIO_InitStruct.Mode = GPIO_MODE_IT_RISING;
  GPIO_InitStruct.Pull = GPIO_NOPULL;
  HAL_GPIO_Init(USER_Btn_GPIO_Port, &GPIO_InitStruct);

  /*Configure GPIO pin : MPU_INT_Pin (EXTI Interrupt) */
  GPIO_InitStruct.Pin = MPU_INT_Pin;
  GPIO_InitStruct.Mode = GPIO_MODE_IT_RISING;
  GPIO_InitStruct.Pull = GPIO_NOPULL;
  HAL_GPIO_Init(GPIOC, &GPIO_InitStruct);

  /*Configure GPIO pins : RMII_MDC_Pin RMII_RXD0_Pin */
  GPIO_InitStruct.Pin = RMII_MDC_Pin | RMII_RXD0_Pin;
  GPIO_InitStruct.Mode = GPIO_MODE_AF_PP;
  GPIO_InitStruct.Pull = GPIO_NOPULL;
  GPIO_InitStruct.Speed = GPIO_SPEED_FREQ_VERY_HIGH;
  GPIO_InitStruct.Alternate = GPIO_AF11_ETH;
  HAL_GPIO_Init(GPIOC, &GPIO_InitStruct);

  /*Configure GPIO pins : RMII_REF_CLK_Pin RMII_MDIO_Pin */
  GPIO_InitStruct.Pin = RMII_REF_CLK_Pin | RMII_MDIO_Pin;
  GPIO_InitStruct.Mode = GPIO_MODE_AF_PP;
  GPIO_InitStruct.Pull = GPIO_NOPULL;
  GPIO_InitStruct.Speed = GPIO_SPEED_FREQ_VERY_HIGH;
  GPIO_InitStruct.Alternate = GPIO_AF11_ETH;
  HAL_GPIO_Init(GPIOA, &GPIO_InitStruct);

  /*Configure GPIO pins : LD1_Pin SPI2_NSS_Pin SPI2_RST_Pin LD2_Pin */
  GPIO_InitStruct.Pin = LD1_Pin | SPI2_NSS_Pin | SPI2_RST_Pin | LD2_Pin;
  GPIO_InitStruct.Mode = GPIO_MODE_OUTPUT_PP;
  GPIO_InitStruct.Pull = GPIO_NOPULL;
  GPIO_InitStruct.Speed = GPIO_SPEED_FREQ_LOW;
  HAL_GPIO_Init(GPIOB, &GPIO_InitStruct);

  /*Configure GPIO pin : USB_PowerSwitchOn_Pin */
  GPIO_InitStruct.Pin = USB_PowerSwitchOn_Pin;
  GPIO_InitStruct.Mode = GPIO_MODE_OUTPUT_PP;
  GPIO_InitStruct.Pull = GPIO_NOPULL;
  GPIO_InitStruct.Speed = GPIO_SPEED_FREQ_LOW;
  HAL_GPIO_Init(USB_PowerSwitchOn_GPIO_Port, &GPIO_InitStruct);

  /*Configure GPIO pin : USB_OverCurrent_Pin */
  GPIO_InitStruct.Pin = USB_OverCurrent_Pin;
  GPIO_InitStruct.Mode = GPIO_MODE_INPUT;
  GPIO_InitStruct.Pull = GPIO_NOPULL;
  HAL_GPIO_Init(USB_OverCurrent_GPIO_Port, &GPIO_InitStruct);

  /*Configure GPIO pins : RMII_TX_EN_Pin RMII_TXD0_Pin */
  GPIO_InitStruct.Pin = RMII_TX_EN_Pin | RMII_TXD0_Pin;
  GPIO_InitStruct.Mode = GPIO_MODE_AF_PP;
  GPIO_InitStruct.Pull = GPIO_NOPULL;
  GPIO_InitStruct.Speed = GPIO_SPEED_FREQ_VERY_HIGH;
  GPIO_InitStruct.Alternate = GPIO_AF11_ETH;
  HAL_GPIO_Init(GPIOG, &GPIO_InitStruct);

  /*Configure GPIO pin : SPI2_DIO0_Pin — plain input, polled via SPI */
  GPIO_InitStruct.Pin = SPI2_DIO0_Pin;
  GPIO_InitStruct.Mode = GPIO_MODE_INPUT;
  GPIO_InitStruct.Pull = GPIO_NOPULL;
  HAL_GPIO_Init(SPI2_DIO0_GPIO_Port, &GPIO_InitStruct);

  /* EXTI interrupt init — priority set to 5 for FreeRTOS safety */
  HAL_NVIC_SetPriority(EXTI0_IRQn, 5, 0);
  HAL_NVIC_EnableIRQ(EXTI0_IRQn);

  HAL_NVIC_SetPriority(EXTI15_10_IRQn, 0, 0);

}

/* USER CODE BEGIN 4 */

void User_Periph_Init(void) {
  GPIO_InitTypeDef GPIO_InitStruct = {0};

  /* Enable Clocks */
  __HAL_RCC_SPI2_CLK_ENABLE();
  __HAL_RCC_I2C1_CLK_ENABLE();
  __HAL_RCC_GPIOB_CLK_ENABLE();
  __HAL_RCC_GPIOC_CLK_ENABLE();

  /* I2C1 GPIO Configuration: PB8->SCL, PB9->SDA */
  GPIO_InitStruct.Pin = GPIO_PIN_8 | GPIO_PIN_9;
  GPIO_InitStruct.Mode = GPIO_MODE_AF_OD;
  GPIO_InitStruct.Pull = GPIO_NOPULL;
  GPIO_InitStruct.Speed = GPIO_SPEED_FREQ_VERY_HIGH;
  GPIO_InitStruct.Alternate = GPIO_AF4_I2C1;
  HAL_GPIO_Init(GPIOB, &GPIO_InitStruct);

  /* Initialize I2C1 */
  hi2c1.Instance = I2C1;
  hi2c1.Init.ClockSpeed = 100000;
  hi2c1.Init.DutyCycle = I2C_DUTYCYCLE_2;
  hi2c1.Init.OwnAddress1 = 0;
  hi2c1.Init.AddressingMode = I2C_ADDRESSINGMODE_7BIT;
  hi2c1.Init.DualAddressMode = I2C_DUALADDRESS_DISABLE;
  hi2c1.Init.OwnAddress2 = 0;
  hi2c1.Init.GeneralCallMode = I2C_GENERALCALL_DISABLE;
  hi2c1.Init.NoStretchMode = I2C_NOSTRETCH_DISABLE;
  HAL_I2C_Init(&hi2c1);

  /* LoRa RST (PB5) Output Configuration */
  HAL_GPIO_WritePin(GPIOB, GPIO_PIN_5, GPIO_PIN_RESET);
  GPIO_InitStruct.Pin = GPIO_PIN_5;
  GPIO_InitStruct.Mode = GPIO_MODE_OUTPUT_PP;
  GPIO_InitStruct.Pull = GPIO_NOPULL;
  GPIO_InitStruct.Speed = GPIO_SPEED_FREQ_LOW;
  HAL_GPIO_Init(GPIOB, &GPIO_InitStruct);

  /* LoRa NSS / CS (PB12) Output Configuration (starts HIGH) */
  HAL_GPIO_WritePin(GPIOB, GPIO_PIN_12, GPIO_PIN_SET);
  GPIO_InitStruct.Pin = GPIO_PIN_12;
  GPIO_InitStruct.Mode = GPIO_MODE_OUTPUT_PP;
  GPIO_InitStruct.Pull = GPIO_NOPULL;
  GPIO_InitStruct.Speed = GPIO_SPEED_FREQ_LOW;
  HAL_GPIO_Init(GPIOB, &GPIO_InitStruct);

  /* SPI2 GPIO Configuration: PB13->SCK, PB14->MISO, PB15->MOSI */
  GPIO_InitStruct.Pin = GPIO_PIN_13 | GPIO_PIN_14 | GPIO_PIN_15;
  GPIO_InitStruct.Mode = GPIO_MODE_AF_PP;
  GPIO_InitStruct.Pull = GPIO_NOPULL;
  GPIO_InitStruct.Speed = GPIO_SPEED_FREQ_VERY_HIGH;
  GPIO_InitStruct.Alternate = GPIO_AF5_SPI2;
  HAL_GPIO_Init(GPIOB, &GPIO_InitStruct);

  /* LoRa DIO0 (PB4) — plain input, polled via SPI register */
  GPIO_InitStruct.Pin = GPIO_PIN_4;
  GPIO_InitStruct.Mode = GPIO_MODE_INPUT;
  GPIO_InitStruct.Pull = GPIO_NOPULL;
  HAL_GPIO_Init(GPIOB, &GPIO_InitStruct);

  /* MPU6050 INT (PC0) — EXTI rising edge for motion interrupt */
  GPIO_InitStruct.Pin = GPIO_PIN_0;
  GPIO_InitStruct.Mode = GPIO_MODE_IT_RISING;
  GPIO_InitStruct.Pull = GPIO_NOPULL;
  HAL_GPIO_Init(GPIOC, &GPIO_InitStruct);
}

/**
  * @brief  Period elapsed callback in non blocking mode
  * @note   This function is called by the HAL library when TIM7 interrupts to
  *         increment the HAL system tick (uwTick). This is crucial because
  *         FreeRTOS uses SysTick, leaving TIM7 to run the HAL timebase.
  * @param  htim: TIM handle
  * @retval None
  */
void HAL_TIM_PeriodElapsedCallback(TIM_HandleTypeDef *htim) {
  if (htim->Instance == TIM7) {
    HAL_IncTick();
  }
}
/* USER CODE END 4 */

void Error_Handler(void) {
  __disable_irq();
  while (1) {
  }
}
#ifdef USE_FULL_ASSERT
/**
 * @brief  Reports the name of the source file and the source line number
 *         where the assert_param error has occurred.
 * @param  file: pointer to the source file name
 * @param  line: assert_param error line source number
 * @retval None
 */
void assert_failed(uint8_t *file, uint32_t line) {
  /* USER CODE BEGIN 6 */
  /* User can add his own implementation to report the file name and line
     number, ex: printf("Wrong parameters value: file %s on line %d\r\n", file,
     line) */
  /* USER CODE END 6 */
}
#endif /* USE_FULL_ASSERT */
//neww
